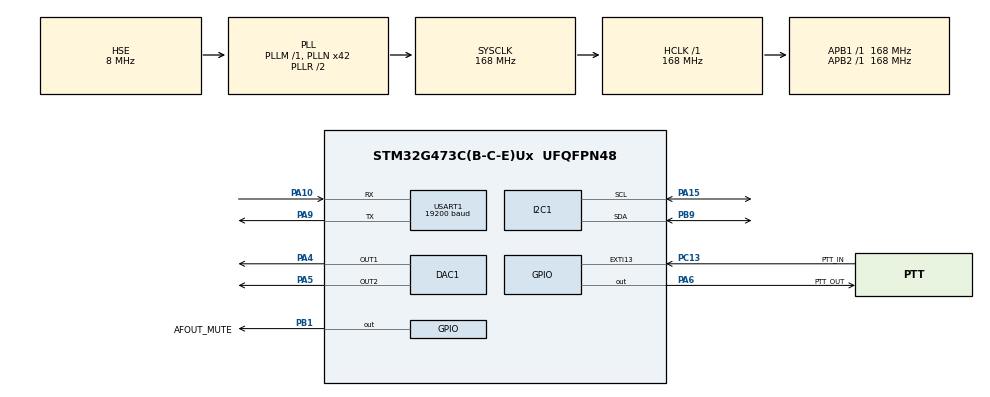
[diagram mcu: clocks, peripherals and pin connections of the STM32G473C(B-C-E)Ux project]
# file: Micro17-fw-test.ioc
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DAC1.DAC_Channel-DAC_OUT2=DAC_CHANNEL_2
DAC1.DAC_HighFrequency_OUT1-DAC_OUT1=DAC_HIGH_FREQUENCY_INTERFACE_MODE_ABOVE_160MHZ
DAC1.DAC_Trigger_OUT1-DAC_OUT1=DAC_TRIGGER_T7_TRGO
DAC1.DAC_Trigger_OUT2-DAC_OUT2=DAC_TRIGGER_T7_TRGO
Dma.DAC1_CH1.0.Direction=DMA_MEMORY_TO_PERIPH
Dma.DAC1_CH1.0.EventEnable=DISABLE
Dma.DAC1_CH1.0.Instance=DMA1_Channel1
Dma.DAC1_CH1.0.MemDataAlignment=DMA_MDATAALIGN_HALFWORD
Dma.DAC1_CH1.0.MemInc=DMA_MINC_ENABLE
Dma.DAC1_CH1.0.Mode=DMA_NORMAL
Dma.DAC1_CH1.0.PeriphDataAlignment=DMA_PDATAALIGN_WORD
Dma.DAC1_CH1.0.PeriphInc=DMA_PINC_DISABLE
Dma.DAC1_CH1.0.Polarity=HAL_DMAMUX_REQ_GEN_RISING
Dma.DAC1_CH1.0.Priority=DMA_PRIORITY_LOW
Dma.DAC1_CH1.0.RequestNumber=1
Dma.DAC1_CH1.0.SignalID=NONE
Dma.DAC1_CH1.0.SyncEnable=DISABLE
Dma.DAC1_CH1.0.SyncPolarity=HAL_DMAMUX_SYNC_NO_EVENT
Dma.DAC1_CH1.0.SyncRequestNumber=1
Dma.DAC1_CH1.0.SyncSignalID=NONE
Dma.DAC1_CH2.1.Direction=DMA_MEMORY_TO_PERIPH
Dma.DAC1_CH2.1.EventEnable=DISABLE
Dma.DAC1_CH2.1.Instance=DMA1_Channel2
Dma.DAC1_CH2.1.MemDataAlignment=DMA_MDATAALIGN_HALFWORD
Dma.DAC1_CH2.1.MemInc=DMA_MINC_ENABLE
Dma.DAC1_CH2.1.Mode=DMA_NORMAL
Dma.DAC1_CH2.1.PeriphDataAlignment=DMA_PDATAALIGN_WORD
Dma.DAC1_CH2.1.PeriphInc=DMA_PINC_DISABLE
Dma.DAC1_CH2.1.Polarity=HAL_DMAMUX_REQ_GEN_RISING
Dma.DAC1_CH2.1.Priority=DMA_PRIORITY_LOW
Dma.DAC1_CH2.1.RequestNumber=1
Dma.DAC1_CH2.1.SignalID=NONE
Dma.DAC1_CH2.1.SyncEnable=DISABLE
Dma.DAC1_CH2.1.SyncPolarity=HAL_DMAMUX_SYNC_NO_EVENT
Dma.DAC1_CH2.1.SyncRequestNumber=1
Dma.DAC1_CH2.1.SyncSignalID=NONE
Dma.Request0=DAC1_CH1
Dma.Request1=DAC1_CH2
I2C1.Timing=0x50916E9F
Mcu.Family=STM32G4
Mcu.Name=STM32G473C(B-C-E)Ux
Mcu.Package=UFQFPN48
NVIC.DMA1_Channel1_IRQn=true\:0\:0\:false\:false\:true\:false\:true\:true
NVIC.DMA1_Channel2_IRQn=true\:0\:0\:false\:false\:true\:false\:true\:true
NVIC.EXTI15_10_IRQn=true\:0\:0\:false\:false\:true\:true\:true\:true
NVIC.PriorityGroup=NVIC_PRIORITYGROUP_4
PA10.Mode=Asynchronous
PA10.Signal=USART1_RX
PA13.Mode=Serial_Wire
PA13.Signal=SYS_JTMS-SWDIO
PA14.Mode=Serial_Wire
PA14.Signal=SYS_JTCK-SWCLK
PA15.Mode=I2C
PA15.Signal=I2C1_SCL
PA4.Signal=COMP_DAC11_group
PA5.Signal=COMP_DAC12_group
PA6.GPIO_Label=PTT_OUT
PA6.GPIO_Speed=GPIO_SPEED_FREQ_VERY_HIGH
PA6.PinState=GPIO_PIN_RESET
PA6.Signal=GPIO_Output
PA9.Mode=Asynchronous
PA9.Signal=USART1_TX
PB1.GPIO_Label=AFOUT_MUTE
PB1.GPIO_Speed=GPIO_SPEED_FREQ_HIGH
PB1.Signal=GPIO_Output
PB9.Mode=I2C
PB9.Signal=I2C1_SDA
PC13.GPIO_Label=PTT_IN
PC13.GPIO_ModeDefaultEXTI=GPIO_MODE_IT_RISING_FALLING
PC13.Signal=GPXTI13
PF0-OSC_IN.Mode=HSE-External-Oscillator
PF0-OSC_IN.Signal=RCC_OSC_IN
PF1-OSC_OUT.Mode=HSE-External-Oscillator
PF1-OSC_OUT.Signal=RCC_OSC_OUT
ProjectManager.HeapSize=0x200
ProjectManager.StackSize=0x400
ProjectManager.TargetToolchain=STM32CubeIDE
RCC.ADC12Freq_Value=168000000
RCC.ADC345Freq_Value=168000000
RCC.AHBFreq_Value=168000000
RCC.APB1Freq_Value=168000000
RCC.APB1TimFreq_Value=168000000
RCC.APB2Freq_Value=168000000
RCC.APB2TimFreq_Value=168000000
RCC.CortexFreq_Value=168000000
RCC.EXTERNAL_CLOCK_VALUE=12288000
RCC.HCLKFreq_Value=168000000
RCC.HSE_VALUE=8000000
RCC.HSI48_VALUE=48000000
RCC.HSI_VALUE=16000000
RCC.LSE_VALUE=32768
RCC.PLLN=42
RCC.PLLSourceVirtual=RCC_PLLSOURCE_HSE
RCC.SYSCLKFreq_VALUE=168000000
RCC.SYSCLKSource=RCC_SYSCLKSOURCE_PLLCLK
RCC.USBFreq_Value=168000000
RCC.VCOOutputFreq_Value=336000000
SH.COMP_DAC11_group.0=DAC1_OUT1,DAC_OUT1
SH.COMP_DAC12_group.0=DAC1_OUT2,DAC_OUT2
TIM7.PeriodNoDither=3500-1
TIM7.TIM_MasterOutputTrigger=TIM_TRGO_UPDATE
USART1.BaudRate=19200
USART1.VirtualMode-Asynchronous=VM_ASYNC
VP_SYS_VS_DBSignals.Mode=DisableDeadBatterySignals
VP_TIM7_VS_ClockSourceINT.Mode=Enable_Timer
board=custom

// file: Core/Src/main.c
/* USER CODE BEGIN Header */
/**
  ******************************************************************************
  * @file           : main.c
  * @brief          : Main program body
  ******************************************************************************
  * @attention
  *
  * Copyright (c) 2024 STMicroelectronics.
  * All rights reserved.
  *
  * This software is licensed under terms that can be found in the LICENSE file
  * in the root directory of this software component.
  * If no LICENSE file comes with this software, it is provided AS-IS.
  *
  ******************************************************************************
  */
/* USER CODE END Header */
#include "main.h"

/* USER CODE BEGIN Includes */
#include <string.h>
#include <stdio.h>
#include <math.h>

#include <m17.h>
#include <pccmd.h>
/* USER CODE END Includes */

/* USER CODE BEGIN PM */
#define DAC_IDLE		2048
/* USER CODE END PM */

DAC_HandleTypeDef hdac1;
DMA_HandleTypeDef hdma_dac1_ch1;
DMA_HandleTypeDef hdma_dac1_ch2;

I2C_HandleTypeDef hi2c1;

TIM_HandleTypeDef htim7;

UART_HandleTypeDef huart1;

/* USER CODE BEGIN PV */
//hardware related stuff
typedef enum
{
	POT_AUD_OUT,
	POT_AUD_IN,
	POT_BSB_OUT,
	POT_BSB_IN
} pot_t;

typedef enum
{
	PTT_INACTIVE,
	PTT_ACTIVE
} ptt_t;

typedef enum
{
	ST_RX,
	ST_TX
} state_t;

uint16_t data[30*SYM_PER_FRA*10+1]={DAC_IDLE};	//one additional sample to set the idle voltage
volatile ptt_t ptt_in=PTT_INACTIVE;				//ptt state
state_t state=ST_RX;							//radio state
volatile uint8_t tx_done=0;						//baseband playback complete?
uint16_t total_samples=0;

//input data
struct settings_t
{
	char dst_raw[10];						//raw, unencoded destination address
	char src_raw[10];						//raw, unencoded source address
	uint8_t can;							//Channel Access Number
	char msg[798];							//text message (32*25-2 bytes)
	uint8_t phase;							//baseband phase 1-normal, 0-inverted
} settings;

//M17 stuff
lsf_t lsf;									//Link Setup Frame data

uint32_t pkt_sym_cnt=0;
uint16_t num_bytes=0;						//size of payload in bytes

uint8_t rf_bits[SYM_PER_PLD*2];				//type-4 bits for transmission
int8_t symbols[SYM_PER_FRA];				//frame symbols
/* USER CODE END PV */

void SystemClock_Config(void);
static void MX_GPIO_Init(void);
static void MX_DMA_Init(void);
static void MX_USART1_UART_Init(void);
static void MX_DAC1_Init(void);
static void MX_I2C1_Init(void);
static void MX_TIM7_Init(void);

/* USER CODE BEGIN 0 */
void setWiper(uint8_t pot, uint16_t val)
{
	switch(pot)
	{
		case 0:
			HAL_I2C_Mem_Write(&hi2c1, 0x58, (0x00<<4)|(val>>8), 1, (uint8_t*)&val, 1, 100);
		break;

		case 1:
			HAL_I2C_Mem_Write(&hi2c1, 0x58, (0x01<<4)|(val>>8), 1, (uint8_t*)&val, 1, 100);
		break;

		case 2:
			HAL_I2C_Mem_Write(&hi2c1, 0x58, (0x06<<4)|(val>>8), 1, (uint8_t*)&val, 1, 100);
		break;

		case 3:
			HAL_I2C_Mem_Write(&hi2c1, 0x58, (0x07<<4)|(val>>8), 1, (uint8_t*)&val, 1, 100);
		break;
	}
}

//M17 - int8_t based functions (as opposed to libm17's float)
void send_preamble_i(int8_t out[SYM_PER_FRA], uint32_t *cnt)
{
	//only pre-LSF is supported
    for(uint16_t i=0; i<SYM_PER_FRA/2; i++) //40ms * 4800 = 192
    {
        out[(*cnt)++]=+3;
        out[(*cnt)++]=-3;
    }
}

void send_syncword_i(int8_t out[SYM_PER_SWD], uint32_t *cnt, const uint16_t syncword)
{
    for(uint8_t i=0; i<SYM_PER_SWD*2; i+=2)
    {
        out[(*cnt)++]=symbol_map[(syncword>>(14-i))&3];
    }
}

void send_data_i(int8_t out[SYM_PER_PLD], uint32_t *cnt, const uint8_t* in)
{
    for(uint16_t i=0; i<SYM_PER_PLD; i++) //40ms * 4800 - 8 (syncword)
    {
        out[(*cnt)++]=symbol_map[in[2*i]*2+in[2*i+1]];
    }
}

void send_eot_i(int8_t out[SYM_PER_FRA], uint32_t *cnt)
{
    for(uint16_t i=0; i<SYM_PER_FRA; i++) //40ms * 4800 = 192
    {
        out[(*cnt)++]=eot_symbols[i%8];
    }
}

void send_frame_i(int8_t out[SYM_PER_FRA], const uint8_t* data, const frame_t type, const lsf_t* lsf)
{
    uint8_t enc_bits[SYM_PER_PLD*2];    //type-2 bits, unpacked
    uint8_t rf_bits[SYM_PER_PLD*2];     //type-4 bits, unpacked
    uint32_t sym_cnt=0;                 //symbols written counter

    if(type==FRAME_LSF)
    {
        send_syncword_i(out, &sym_cnt, SYNC_LSF);
        conv_encode_LSF(enc_bits, lsf);
    }
    else if(type==FRAME_PKT)
    {
		(void)lsf;
        send_syncword_i(out, &sym_cnt, SYNC_PKT);
        conv_encode_packet_frame(enc_bits, data); //packet frames require 200-bit payload chunks plus a 6-bit counter
    }

    //common stuff
    reorder_bits(rf_bits, enc_bits);
    randomize_bits(rf_bits);
    send_data_i(out, &sym_cnt, rf_bits);
}

//filter symbols, flt is assumed to be 41 taps long
void filter_symbols(uint16_t* out, const int8_t* in, const float* flt, uint8_t phase_inv)
{
	static float last[81]; //memory for last samples

	for(uint8_t i=0; i<SYM_PER_FRA; i++)
	{
		for(uint8_t j=0; j<10; j++)
		{
			for(uint8_t k=0; k<80; k++)
				last[k]=last[k+1];

			if(j==0)
			{
				if(phase_inv)
					last[80]= in[i];
				else
					last[80]=-in[i];
			}
			else
				last[80]=0.0f;

			float acc=0.0f;
			for(uint8_t k=0; k<81; k++)
				acc+=last[k]*flt[k];

			if(out!=NULL) out[i*10+j]=sqrtf(10.0f)*(7168.0f/32768.0f*2048.0f)*acc+DAC_IDLE;
		}
	}
}

//generate baseband samples TODO: add more args here (LSF etc.)
void generate_baseband(char *msg, uint8_t phase_inv)
{
	uint8_t fn=0;
	uint8_t full_packet_data[32*25]={0};
	uint8_t packet_frame[26]={0};
	uint16_t num_bytes=0;

	//obtain data and append with CRC
	memset(full_packet_data, 0, sizeof(full_packet_data));
	full_packet_data[0]=0x05;
	num_bytes=sprintf((char*)&full_packet_data[1], msg)+2; //prepended 0x05 and appended 0x00
	uint16_t packet_crc=CRC_M17(full_packet_data, num_bytes);
	full_packet_data[num_bytes]  =packet_crc>>8;
	full_packet_data[num_bytes+1]=packet_crc&0xFF;
	num_bytes+=2; //count in 2-byte CRC too

	//flush the RRC filter
	int8_t flush[SYM_PER_FRA]={0.0f};
	filter_symbols(NULL, flush, rrc_taps_10, phase_inv);

	//generate preamble
	pkt_sym_cnt=0;
	send_preamble_i(symbols, &pkt_sym_cnt);
	filter_symbols(&data[0*SYM_PER_FRA*10], symbols, rrc_taps_10, phase_inv);

	//generate LSF
	send_frame_i(symbols, NULL, FRAME_LSF, &lsf);
	filter_symbols(&data[1*SYM_PER_FRA*10], symbols, rrc_taps_10, phase_inv);

	//generate frames
	while(num_bytes>25)
	{
		memcpy(packet_frame, &full_packet_data[fn*25], 25);
		packet_frame[25]=fn<<2;
		send_frame_i(symbols, packet_frame, FRAME_PKT, NULL);
		filter_symbols(&data[(2+fn)*SYM_PER_FRA*10], symbols, rrc_taps_10, phase_inv);
		fn++;
		num_bytes-=25;
	}

	memset(packet_frame, 0, sizeof(packet_frame));
	memcpy(packet_frame, &full_packet_data[fn*25], num_bytes);
	packet_frame[25]=0x80|(num_bytes<<2);
	send_frame_i(symbols, packet_frame, FRAME_PKT, NULL);
	filter_symbols(&data[(2+fn)*SYM_PER_FRA*10], symbols, rrc_taps_10, phase_inv);

	//generate EOT
	pkt_sym_cnt=0;
	send_eot_i(symbols, &pkt_sym_cnt);
	filter_symbols(&data[(3+fn)*SYM_PER_FRA*10], symbols, rrc_taps_10, phase_inv);

	//settle samples at mid-scale
	filter_symbols(&data[(4+fn)*SYM_PER_FRA*10], flush, rrc_taps_10, phase_inv);

	total_samples=(4+fn)*SYM_PER_FRA*10 + 80; //it is enough to make sure the output voltage will settle
}

void HAL_GPIO_EXTI_Callback(uint16_t GPIO_Pin)
{
	if(GPIO_Pin==PTT_IN_Pin)
	{
		if(HAL_GPIO_ReadPin(PTT_IN_GPIO_Port, PTT_IN_Pin))
		{
			ptt_in=PTT_ACTIVE;
		}
		else
		{
			ptt_in=PTT_INACTIVE;
		}
	}
}

//baseband playback end
void HAL_DAC_ConvCpltCallbackCh1(DAC_HandleTypeDef *hdac)
{
	tx_done=1;
}

//AF playback end
void HAL_DACEx_ConvCpltCallbackCh2(DAC_HandleTypeDef *hdac)
{
	//muting doesn't work
	//HAL_GPIO_WritePin(AFOUT_MUTE_GPIO_Port, AFOUT_MUTE_Pin, 0);
}
/* USER CODE END 0 */

int main(void)
{

  /* MCU Configuration--------------------------------------------------------*/

  /* Reset of all peripherals, Initializes the Flash interface and the Systick. */
  HAL_Init();

  /* Configure the system clock */
  SystemClock_Config();

  /* Initialize all configured peripherals */
  MX_GPIO_Init();
  MX_DMA_Init();
  MX_USART1_UART_Init();
  MX_DAC1_Init();
  MX_I2C1_Init();
  MX_TIM7_Init();
  /* USER CODE BEGIN 2 */
  HAL_Delay(250);

  setWiper(POT_BSB_IN,  0x100); HAL_Delay(10);
  setWiper(POT_BSB_OUT, 0x0E0); HAL_Delay(10); //might need some more trimming
  setWiper(POT_AUD_IN,  0x080); HAL_Delay(10);
  setWiper(POT_AUD_OUT, 0x080); HAL_Delay(10);

  //set idle voltages
  HAL_DAC_Start_DMA(&hdac1, DAC_CHANNEL_1, (uint32_t*)data, 1, DAC_ALIGN_12B_R);
  HAL_DAC_Start_DMA(&hdac1, DAC_CHANNEL_2, (uint32_t*)data, 1, DAC_ALIGN_12B_R);
  HAL_TIM_Base_Start(&htim7); //48kHz clock
  HAL_Delay(4750);
  HAL_TIM_Base_Stop(&htim7); //48kHz clock
  tx_done=0;

  if(HAL_DAC_Start(&hdac1, DAC_CHANNEL_1)+HAL_DAC_Start(&hdac1, DAC_CHANNEL_2)==HAL_OK)
  {
	  pcCmdWriteDisplay(&huart1, "Micro17 OK", "");
  }
  else
  {
	  pcCmdWriteDisplay(&huart1, "DAC ERR", "");
	  while(1);
  }

  //input data
  sprintf(settings.msg, "Борітеся - поборете.");
  sprintf(settings.dst_raw, "@ALL");
  sprintf(settings.src_raw, "N0CALL");
  settings.phase=0; //inverted

  //encode dst, src for the lsf struct
  set_LSF(&lsf, settings.src_raw, settings.dst_raw,
		  M17_TYPE_PACKET | M17_TYPE_CAN(settings.can), NULL);

  //calculate LSF CRC
  uint16_t lsf_crc=LSF_CRC(&lsf);
  lsf.crc[0]=lsf_crc>>8;
  lsf.crc[1]=lsf_crc&0xFF;

  generate_baseband(settings.msg, settings.phase);

  pcCmdWriteDisplay(&huart1, "Micro17 OK", "BSB OK");

  /*while(1)
  {
	  HAL_GPIO_WritePin(AFOUT_MUTE_GPIO_Port, AFOUT_MUTE_Pin, 1);
	  HAL_DAC_Start_DMA(&hdac1, DAC_CHANNEL_2, (uint32_t*)data, 1920+1, DAC_ALIGN_12B_R);
	  HAL_Delay(40);
	  HAL_GPIO_WritePin(AFOUT_MUTE_GPIO_Port, AFOUT_MUTE_Pin, 0);
	  HAL_Delay(1000-40);
  }*/
  /* USER CODE END 2 */

  /* Infinite loop */
  /* USER CODE BEGIN WHILE */
  while (1)
  {
	  //PTT down
	  if(ptt_in==PTT_ACTIVE && state==ST_RX)
	  {
		  HAL_GPIO_WritePin(PTT_OUT_GPIO_Port, PTT_OUT_Pin, 1);
		  HAL_Delay(60);

		  HAL_DAC_Start_DMA(&hdac1, DAC_CHANNEL_1, (uint32_t*)data, total_samples, DAC_ALIGN_12B_R);
		  HAL_TIM_Base_Start(&htim7); //48kHz clock

		  state=ST_TX;
	  }

	  //PTT up
	  /*if(ptt_in==PTT_INACTIVE && state==ST_TX)
	  {
		  HAL_Delay(60);
		  HAL_GPIO_WritePin(PTT_OUT_GPIO_Port, PTT_OUT_Pin, 0);

		  state=ST_RX;
	  }*/

	  //stop TX - no more baseband
	  if(tx_done && state==ST_TX)
	  {
		  HAL_TIM_Base_Stop(&htim7); //48kHz clock
		  tx_done=0;
		  HAL_Delay(40);
		  HAL_GPIO_WritePin(PTT_OUT_GPIO_Port, PTT_OUT_Pin, 0);
		  ptt_in=PTT_INACTIVE;
		  state=ST_RX;
	  }
    /* USER CODE END WHILE */

  }
}

void SystemClock_Config(void)
{
  RCC_OscInitTypeDef RCC_OscInitStruct = {0};
  RCC_ClkInitTypeDef RCC_ClkInitStruct = {0};

  /** Configure the main internal regulator output voltage
  */
  HAL_PWREx_ControlVoltageScaling(PWR_REGULATOR_VOLTAGE_SCALE1_BOOST);

  /** Initializes the RCC Oscillators according to the specified parameters
  * in the RCC_OscInitTypeDef structure.
  */
  RCC_OscInitStruct.OscillatorType = RCC_OSCILLATORTYPE_HSE;
  RCC_OscInitStruct.HSEState = RCC_HSE_ON;
  RCC_OscInitStruct.PLL.PLLState = RCC_PLL_ON;
  RCC_OscInitStruct.PLL.PLLSource = RCC_PLLSOURCE_HSE;
  RCC_OscInitStruct.PLL.PLLM = RCC_PLLM_DIV1;
  RCC_OscInitStruct.PLL.PLLN = 42;
  RCC_OscInitStruct.PLL.PLLP = RCC_PLLP_DIV2;
  RCC_OscInitStruct.PLL.PLLQ = RCC_PLLQ_DIV2;
  RCC_OscInitStruct.PLL.PLLR = RCC_PLLR_DIV2;
  if (HAL_RCC_OscConfig(&RCC_OscInitStruct) != HAL_OK)
  {
    Error_Handler();
  }

  /** Initializes the CPU, AHB and APB buses clocks
  */
  RCC_ClkInitStruct.ClockType = RCC_CLOCKTYPE_HCLK|RCC_CLOCKTYPE_SYSCLK
                              |RCC_CLOCKTYPE_PCLK1|RCC_CLOCKTYPE_PCLK2;
  RCC_ClkInitStruct.SYSCLKSource = RCC_SYSCLKSOURCE_PLLCLK;
  RCC_ClkInitStruct.AHBCLKDivider = RCC_SYSCLK_DIV1;
  RCC_ClkInitStruct.APB1CLKDivider = RCC_HCLK_DIV1;
  RCC_ClkInitStruct.APB2CLKDivider = RCC_HCLK_DIV1;

  if (HAL_RCC_ClockConfig(&RCC_ClkInitStruct, FLASH_LATENCY_4) != HAL_OK)
  {
    Error_Handler();
  }
}

static void MX_DAC1_Init(void)
{

  DAC_ChannelConfTypeDef sConfig = {0};

  /** DAC Initialization
  */
  hdac1.Instance = DAC1;
  if (HAL_DAC_Init(&hdac1) != HAL_OK)
  {
    Error_Handler();
  }

  /** DAC channel OUT1 config
  */
  sConfig.DAC_HighFrequency = DAC_HIGH_FREQUENCY_INTERFACE_MODE_ABOVE_160MHZ;
  sConfig.DAC_DMADoubleDataMode = DISABLE;
  sConfig.DAC_SignedFormat = DISABLE;
  sConfig.DAC_SampleAndHold = DAC_SAMPLEANDHOLD_DISABLE;
  sConfig.DAC_Trigger = DAC_TRIGGER_T7_TRGO;
  sConfig.DAC_Trigger2 = DAC_TRIGGER_NONE;
  sConfig.DAC_OutputBuffer = DAC_OUTPUTBUFFER_ENABLE;
  sConfig.DAC_ConnectOnChipPeripheral = DAC_CHIPCONNECT_EXTERNAL;
  sConfig.DAC_UserTrimming = DAC_TRIMMING_FACTORY;
  if (HAL_DAC_ConfigChannel(&hdac1, &sConfig, DAC_CHANNEL_1) != HAL_OK)
  {
    Error_Handler();
  }

  /** DAC channel OUT2 config
  */
  if (HAL_DAC_ConfigChannel(&hdac1, &sConfig, DAC_CHANNEL_2) != HAL_OK)
  {
    Error_Handler();
  }

}

static void MX_I2C1_Init(void)
{

  hi2c1.Instance = I2C1;
  hi2c1.Init.Timing = 0x50916E9F;
  hi2c1.Init.OwnAddress1 = 0;
  hi2c1.Init.AddressingMode = I2C_ADDRESSINGMODE_7BIT;
  hi2c1.Init.DualAddressMode = I2C_DUALADDRESS_DISABLE;
  hi2c1.Init.OwnAddress2 = 0;
  hi2c1.Init.OwnAddress2Masks = I2C_OA2_NOMASK;
  hi2c1.Init.GeneralCallMode = I2C_GENERALCALL_DISABLE;
  hi2c1.Init.NoStretchMode = I2C_NOSTRETCH_DISABLE;
  if (HAL_I2C_Init(&hi2c1) != HAL_OK)
  {
    Error_Handler();
  }

  /** Configure Analogue filter
  */
  if (HAL_I2CEx_ConfigAnalogFilter(&hi2c1, I2C_ANALOGFILTER_ENABLE) != HAL_OK)
  {
    Error_Handler();
  }

  /** Configure Digital filter
  */
  if (HAL_I2CEx_ConfigDigitalFilter(&hi2c1, 0) != HAL_OK)
  {
    Error_Handler();
  }

}

static void MX_TIM7_Init(void)
{

  TIM_MasterConfigTypeDef sMasterConfig = {0};

  htim7.Instance = TIM7;
  htim7.Init.Prescaler = 0;
  htim7.Init.CounterMode = TIM_COUNTERMODE_UP;
  htim7.Init.Period = 3499;
  htim7.Init.AutoReloadPreload = TIM_AUTORELOAD_PRELOAD_DISABLE;
  if (HAL_TIM_Base_Init(&htim7) != HAL_OK)
  {
    Error_Handler();
  }
  sMasterConfig.MasterOutputTrigger = TIM_TRGO_UPDATE;
  sMasterConfig.MasterSlaveMode = TIM_MASTERSLAVEMODE_DISABLE;
  if (HAL_TIMEx_MasterConfigSynchronization(&htim7, &sMasterConfig) != HAL_OK)
  {
    Error_Handler();
  }

}

static void MX_USART1_UART_Init(void)
{

  huart1.Instance = USART1;
  huart1.Init.BaudRate = 19200;
  huart1.Init.WordLength = UART_WORDLENGTH_8B;
  huart1.Init.StopBits = UART_STOPBITS_1;
  huart1.Init.Parity = UART_PARITY_NONE;
  huart1.Init.Mode = UART_MODE_TX_RX;
  huart1.Init.HwFlowCtl = UART_HWCONTROL_NONE;
  huart1.Init.OverSampling = UART_OVERSAMPLING_16;
  huart1.Init.OneBitSampling = UART_ONE_BIT_SAMPLE_DISABLE;
  huart1.Init.ClockPrescaler = UART_PRESCALER_DIV1;
  huart1.AdvancedInit.AdvFeatureInit = UART_ADVFEATURE_NO_INIT;
  if (HAL_UART_Init(&huart1) != HAL_OK)
  {
    Error_Handler();
  }
  if (HAL_UARTEx_SetTxFifoThreshold(&huart1, UART_TXFIFO_THRESHOLD_1_8) != HAL_OK)
  {
    Error_Handler();
  }
  if (HAL_UARTEx_SetRxFifoThreshold(&huart1, UART_RXFIFO_THRESHOLD_1_8) != HAL_OK)
  {
    Error_Handler();
  }
  if (HAL_UARTEx_DisableFifoMode(&huart1) != HAL_OK)
  {
    Error_Handler();
  }

}

static void MX_DMA_Init(void)
{

  /* DMA controller clock enable */
  __HAL_RCC_DMAMUX1_CLK_ENABLE();
  __HAL_RCC_DMA1_CLK_ENABLE();

  /* DMA interrupt init */
  /* DMA1_Channel1_IRQn interrupt configuration */
  HAL_NVIC_SetPriority(DMA1_Channel1_IRQn, 0, 0);
  HAL_NVIC_EnableIRQ(DMA1_Channel1_IRQn);
  /* DMA1_Channel2_IRQn interrupt configuration */
  HAL_NVIC_SetPriority(DMA1_Channel2_IRQn, 0, 0);
  HAL_NVIC_EnableIRQ(DMA1_Channel2_IRQn);

}

static void MX_GPIO_Init(void)
{
  GPIO_InitTypeDef GPIO_InitStruct = {0};

  /* GPIO Ports Clock Enable */
  __HAL_RCC_GPIOC_CLK_ENABLE();
  __HAL_RCC_GPIOF_CLK_ENABLE();
  __HAL_RCC_GPIOA_CLK_ENABLE();
  __HAL_RCC_GPIOB_CLK_ENABLE();

  /*Configure GPIO pin Output Level */
  HAL_GPIO_WritePin(PTT_OUT_GPIO_Port, PTT_OUT_Pin, GPIO_PIN_RESET);

  /*Configure GPIO pin Output Level */
  HAL_GPIO_WritePin(AFOUT_MUTE_GPIO_Port, AFOUT_MUTE_Pin, GPIO_PIN_RESET);

  /*Configure GPIO pin : PTT_IN_Pin */
  GPIO_InitStruct.Pin = PTT_IN_Pin;
  GPIO_InitStruct.Mode = GPIO_MODE_IT_RISING_FALLING;
  GPIO_InitStruct.Pull = GPIO_NOPULL;
  HAL_GPIO_Init(PTT_IN_GPIO_Port, &GPIO_InitStruct);

  /*Configure GPIO pin : PTT_OUT_Pin */
  GPIO_InitStruct.Pin = PTT_OUT_Pin;
  GPIO_InitStruct.Mode = GPIO_MODE_OUTPUT_PP;
  GPIO_InitStruct.Pull = GPIO_NOPULL;
  GPIO_InitStruct.Speed = GPIO_SPEED_FREQ_VERY_HIGH;
  HAL_GPIO_Init(PTT_OUT_GPIO_Port, &GPIO_InitStruct);

  /*Configure GPIO pin : AFOUT_MUTE_Pin */
  GPIO_InitStruct.Pin = AFOUT_MUTE_Pin;
  GPIO_InitStruct.Mode = GPIO_MODE_OUTPUT_PP;
  GPIO_InitStruct.Pull = GPIO_NOPULL;
  GPIO_InitStruct.Speed = GPIO_SPEED_FREQ_HIGH;
  HAL_GPIO_Init(AFOUT_MUTE_GPIO_Port, &GPIO_InitStruct);

  /* EXTI interrupt init*/
  HAL_NVIC_SetPriority(EXTI15_10_IRQn, 0, 0);
  HAL_NVIC_EnableIRQ(EXTI15_10_IRQn);

}

void Error_Handler(void)
{
  __disable_irq();
  while (1)
  {
  }
}
